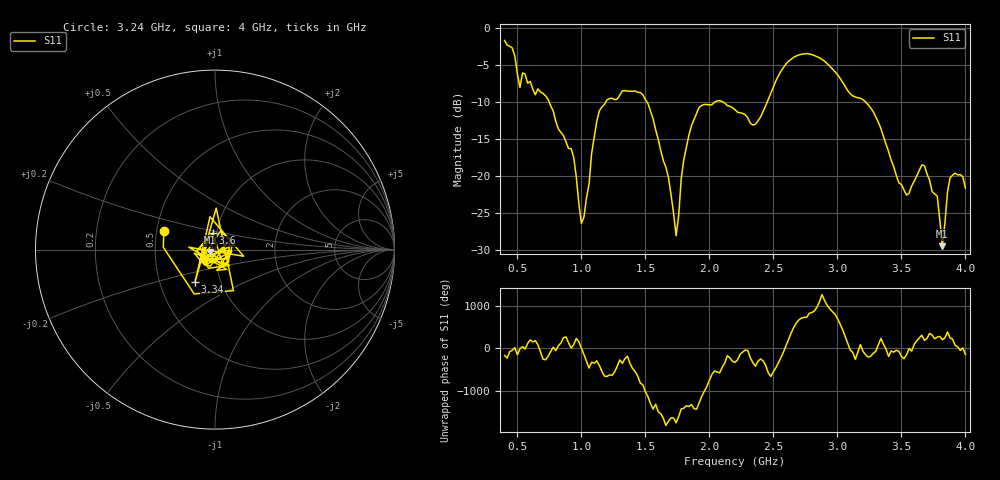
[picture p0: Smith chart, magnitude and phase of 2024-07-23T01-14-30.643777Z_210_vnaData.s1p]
!Created with skrf (http://scikit-rf.org).
# Hz S RI R 50.0
!freq ReS11 ImS11
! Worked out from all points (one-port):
!   181 points, 400 MHz to 4 GHz, reference 50 ohm
!   lowest |S11| = -29.5 dB at 3.82 GHz (marker M1), VSWR 1.07, Z = 47 - j1.4 ohm
!   |S11| at or under -10 dB: 748.4 MHz to 1.19 GHz (441.7 MHz wide, 45.6 % of centre); 1.513 GHz to 2.041 GHz (528.7 MHz wide, 29.8 % of centre); 3.222 GHz to end of sweep (the widest 3 of 4)
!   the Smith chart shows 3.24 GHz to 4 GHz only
!   S11 on the Smith chart (normalised r, x): 3.24 GHz: 0.55, +0.13; 3.34 GHz: 0.76, -0.28; 3.6 GHz: 0.96, +0.18; 4 GHz: 0.88, -0.10
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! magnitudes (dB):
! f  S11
! 400 MHz  -1.7
! 520 MHz  -8.0
! 720 MHz  -9.2
! 860 MHz  -14.5
! 940 MHz  -17.5
! 1 GHz  -26.4
! 1.14 GHz  -11.2
! 1.3 GHz  -9.1
! 1.52 GHz  -10.2
! 1.68 GHz  -20.2
! 1.74 GHz  -28.1
! 1.76 GHz  -25.3
! 1.8 GHz  -17.8
! 1.92 GHz  -10.7
! 2.2 GHz  -11.0
! 2.36 GHz  -13.0
! 2.66 GHz  -3.9
! 2.88 GHz  -4.2
! 3.1 GHz  -8.9
! 3.24 GHz  -10.4
! 3.34 GHz  -13.6
! 3.56 GHz  -22.3
! 3.6 GHz  -20.7
! 3.68 GHz  -18.6
! 3.78 GHz  -22.7
! 3.82 GHz  -29.5
! 3.88 GHz  -20.3
! 4 GHz  -21.6
